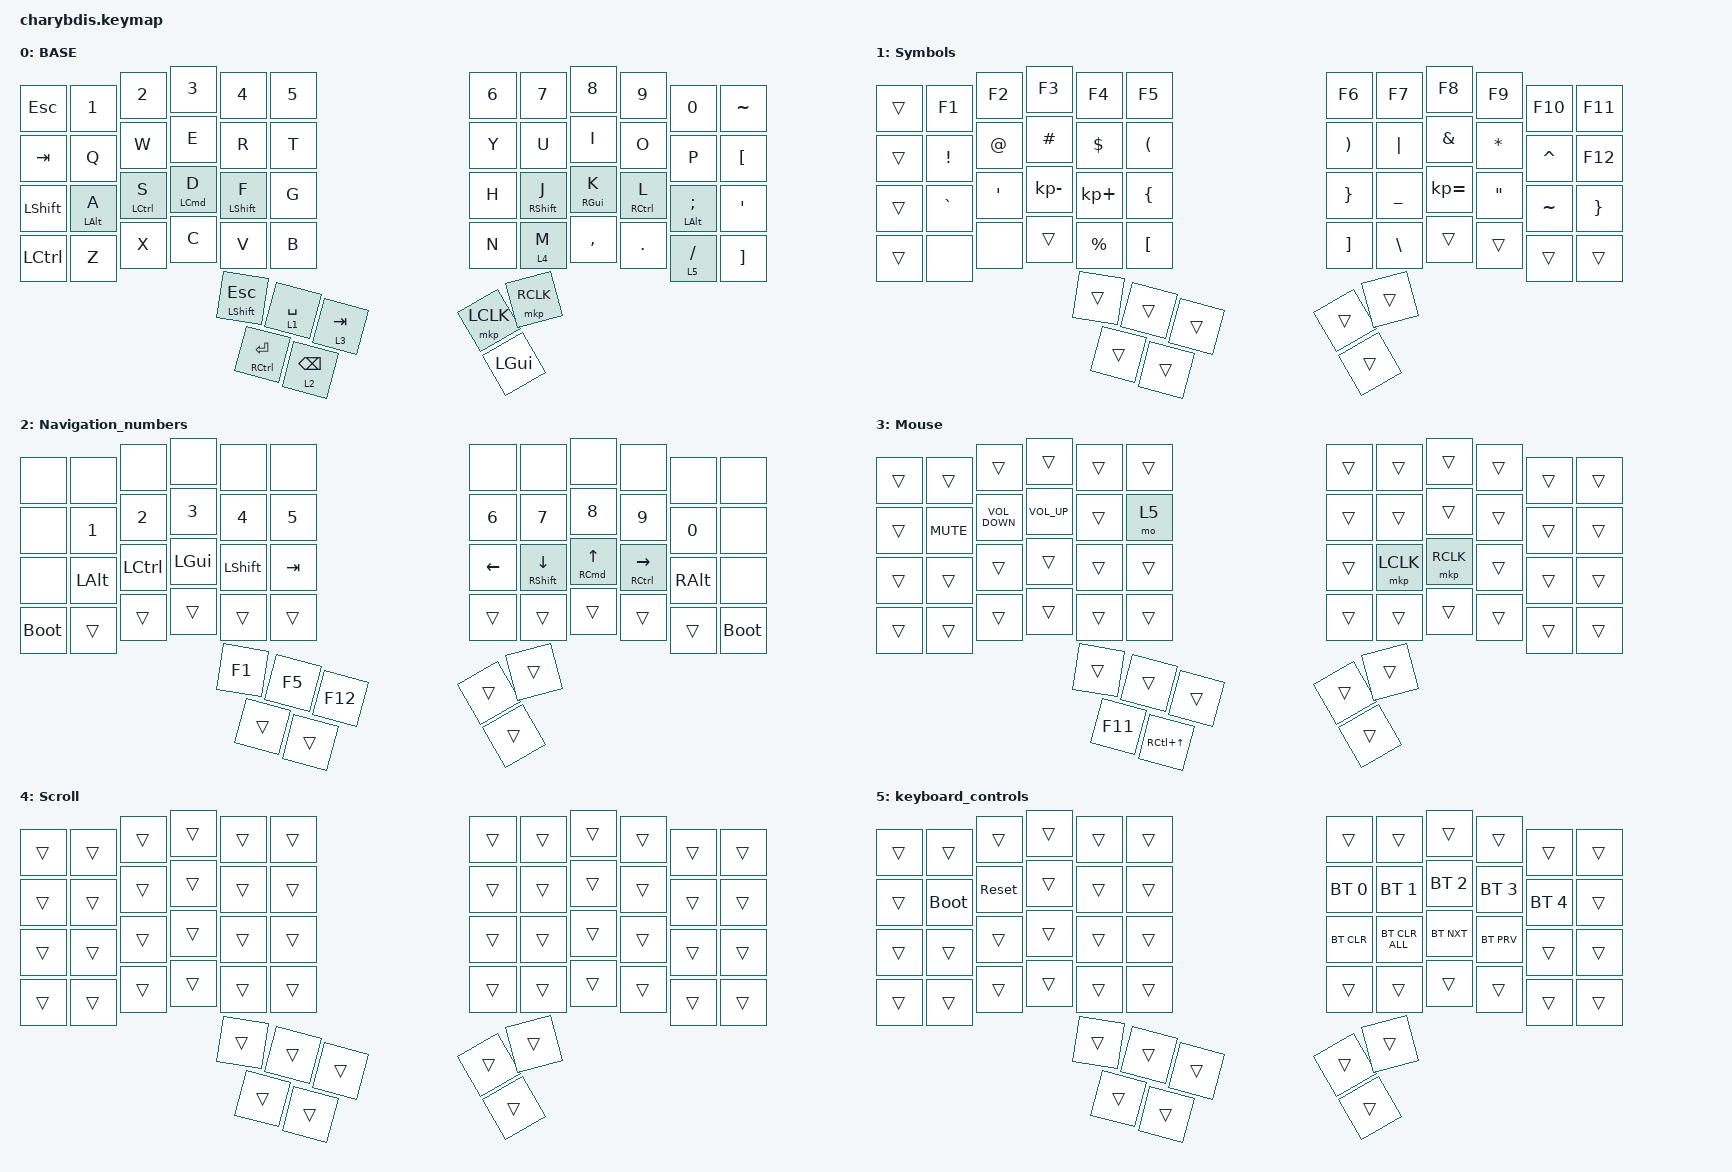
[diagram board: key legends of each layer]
#include <behaviors/mouse_keys.dtsi>
#include <dt-bindings/zmk/mouse.h>
#include <behaviors.dtsi>
#include <dt-bindings/zmk/bt.h>
#include <dt-bindings/zmk/keys.h>
#include <dt-bindings/zmk/outputs.h>
#include "macros.dtsi"

#define U_TAPPING_TERM 200

&lt {
    tapping-term-ms = <U_TAPPING_TERM>;
    quick-tap-ms = <U_TAPPING_TERM>;
    flavor = "tap-preferred";
};

/ {
    behaviors {
        hrm_right: hrm_right {
            compatible = "zmk,behavior-hold-tap";
            label = "Homerow Mods Right";
            bindings = <&kp>, <&kp>;
            #binding-cells = <2>;
            tapping-term-ms = <200>;
            quick-tap-ms = <200>;
            flavor = "tap-preferred";
            hold-trigger-key-positions = <13 14 15 16 17 25 26 27 28 29 37 38 39 40 41 48 49>;
        };

        hrm_left: hrm_left {
            compatible = "zmk,behavior-hold-tap";
            label = "Homerow Mods Left";
            bindings = <&kp>, <&kp>;
            #binding-cells = <2>;
            tapping-term-ms = <200>;
            quick-tap-ms = <200>;
            flavor = "tap-preferred";
            hold-trigger-key-positions = <18 19 20 21 22 30 31 32 33 34 42 43 44 45 46 50 51>;
        };

        tapdance_curly: tapdance_curly {
            compatible = "zmk,behavior-tap-dance";
            label = "TAPDANCE_CURLY";
            #binding-cells = <0>;
            tapping-term-ms = <250>;
            bindings = <&kp LEFT_BRACE>, <&kp RIGHT_BRACE>;
        };

        tapdance_square: tapdance_square {
            compatible = "zmk,behavior-tap-dance";
            label = "TAPDANCE_SQUARE";
            #binding-cells = <0>;
            tapping-term-ms = <250>;
            bindings = <&kp LEFT_BRACKET>, <&kp RIGHT_BRACKET>;
        };

        tapdance_tab_mouselayer: tapdance_tab_mouselayer {
            compatible = "zmk,behavior-tap-dance";
            label = "TAPDANCE_TAB_MOUSELAYER";
            #binding-cells = <0>;
            tapping-term-ms = <250>;
            bindings = <&mo 3>, <&kp TAB>;
        };

        tapdance_z_capslock: tapdance_z_capslock {
            compatible = "zmk,behavior-tap-dance";
            label = "TAPDANCE_Z_CAPSLOCK";
            #binding-cells = <0>;
            tapping-term-ms = <200>;
            bindings = <&kp Z>, <&kp CAPSLOCK>;
        };
    };

    combos {
        compatible = "zmk,combos";

        toggle_mouse_layer {
            bindings = <&tog 3>;
            key-positions = <51 22>;
        };

        return_base_layer {
            bindings = <&to 0>;
            key-positions = <18 51>;
        };
    };

    keymap {
        compatible = "zmk,keymap";

        BASE {
            bindings = <
&kp ESC     &kp NUMBER_1       &kp N2             &kp N3            &kp N4                  &kp N5                    &kp N6  &kp N7                &kp N8              &kp N9               &kp N0                 &kp TILDE
&kp TAB     &kp Q              &kp W              &kp E             &kp R                   &kp T                     &kp Y   &kp U                 &kp I               &kp O                &kp P                  &kp LEFT_BRACKET
&kp LSHIFT  &hrm_left LALT A   &hrm_left LCTRL S  &hrm_left LCMD D  &hrm_left LEFT_SHIFT F  &kp G                     &kp H   &hrm_right RSHIFT J  &hrm_right RGUI K  &hrm_right RCTRL L  &hrm_right LALT SEMI  &kp APOS
&kp LCTRL   &kp Z              &kp X              &kp C             &kp V                   &kp B                     &kp N   &lt 4 M              &kp COMMA           &kp PERIOD           &lt 5 SLASH            &kp RIGHT_BRACKET
                                                                         &mt LSHIFT ESCAPE       &lt 1 SPACE  &lt 3 TAB  &mt RCTRL ENTER      &lt 2 BACKSPACE
                                                                                         &mkp LCLK         &mkp RCLK  &kp LGUI
            >;
        };

        Symbols {
            bindings = <
&trans  &kp F1             &kp F2            &kp F3        &kp F4            &kp F5                 &kp F6                 &kp F7         &kp F8          &kp F9             &kp F10            &kp F11
&trans  &kp EXCL           &kp AT            &kp POUND     &kp DOLLAR        &kp LEFT_PARENTHESIS   &kp RIGHT_PARENTHESIS  &kp PIPE       &kp AMPERSAND   &kp ASTERISK       &kp CARET           &kp F12
&trans  &kp GRAVE          &kp SINGLE_QUOTE  &kp KP_MINUS  &kp KP_PLUS       &kp LEFT_BRACE         &kp RIGHT_BRACE        &kp UNDER      &kp KP_EQUAL    &kp DOUBLE_QUOTES  &kp TILDE           &kp RIGHT_BRACE
&trans  &none              &none             &trans        &kp PERCENT       &kp LEFT_BRACKET       &kp RIGHT_BRACKET      &kp BACKSLASH  &trans          &trans             &trans              &trans
                                                                   &trans          &trans  &trans  &trans  &trans
                                                                                   &trans  &trans  &trans
            >;
        };

        Navigation_numbers {
            bindings = <
&none        &none  &none  &none  &none  &none      &none      &none                         &none                         &none                    &none          &none
&none        &kp N1        &kp N2        &kp N3        &kp N4        &kp N5            &kp N6     &kp N7                       &kp N8                       &kp N9                  &kp N0         &none
&none        &kp LALT      &kp LCTRL     &kp LGUI      &kp LSHFT     &kp TAB           &kp LEFT   &hrm_right RIGHT_SHIFT DOWN  &hrm_right RIGHT_COMMAND UP  &hrm_right RCTRL RIGHT  &kp RIGHT_ALT  &none
&bootloader  &trans        &trans        &trans        &trans        &trans            &trans     &trans                       &trans                       &trans                  &trans         &bootloader
                                                        &kp F1        &kp F5   &kp F12   &trans  &trans
                                                                      &trans   &trans    &trans
            >;
        };

        Mouse {
            bindings = <
&trans  &trans      &trans             &trans           &trans  &trans          &trans  &trans     &trans            &trans  &trans            &trans
&trans  &kp K_MUTE  &kp C_VOLUME_DOWN  &kp C_VOLUME_UP  &trans  &mo 5           &trans  &trans     &trans            &trans  &trans            &trans
&trans  &trans      &trans             &trans           &trans  &trans          &trans  &mkp LCLK  &mkp RCLK         &trans  &trans            &trans
&trans  &trans      &trans             &trans           &trans  &trans          &trans  &trans     &trans            &trans  &trans            &trans
                                                               &trans          &trans  &trans     &kp F11  &kp RC(UP_ARROW)
                                                                               &trans  &trans     &trans
            >;
        };

        Scroll {
            bindings = <
&trans  &trans  &trans  &trans  &trans  &trans          &trans  &trans  &trans  &trans  &trans  &trans
&trans  &trans  &trans  &trans  &trans  &trans          &trans  &trans  &trans  &trans  &trans  &trans
&trans  &trans  &trans  &trans  &trans  &trans          &trans  &trans  &trans  &trans  &trans  &trans
&trans  &trans  &trans  &trans  &trans  &trans          &trans  &trans  &trans  &trans  &trans  &trans
                                        &trans  &trans  &trans          &trans  &trans
                                                &trans  &trans          &trans
            >;
        };

        keyboard_controls {
            bindings = <
&trans  &trans       &trans      &trans  &trans  &trans          &trans        &trans          &trans        &trans        &trans        &trans
&trans  &bootloader  &sys_reset  &trans  &trans  &trans          &bt BT_SEL 0  &bt BT_SEL 1    &bt BT_SEL 2  &bt BT_SEL 3  &bt BT_SEL 4  &trans
&trans  &trans       &trans      &trans  &trans  &trans          &bt BT_CLR    &bt BT_CLR_ALL  &bt BT_NXT    &bt BT_PRV    &trans        &trans
&trans  &trans       &trans      &trans  &trans  &trans          &trans        &trans          &trans        &trans        &trans        &trans
                                      &trans  &trans  &trans          &trans  &trans
                                              &trans  &trans          &trans
            >;
        };
    };
};
